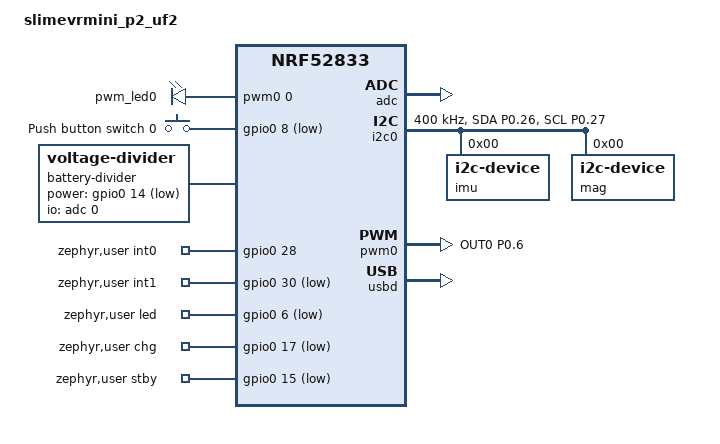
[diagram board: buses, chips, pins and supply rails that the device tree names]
// Copyright (c) 2024 Nordic Semiconductor ASA
// SPDX-License-Identifier: Apache-2.0

/dts-v1/;
#include <nordic/nrf52833_qiaa.dtsi>

//move to dtsi?
&pinctrl {
	i2c0_default: i2c0_default {
		group1 {
			psels = <NRF_PSEL(TWIM_SDA, 0, 26)>, <NRF_PSEL(TWIM_SCL, 0, 27)>;
			bias-disable;
		};
	};

	i2c0_sleep: i2c0_sleep {
		group1 {
			psels = <NRF_PSEL(TWIM_SDA, 0, 26)>, <NRF_PSEL(TWIM_SCL, 0, 27)>;
			bias-disable;
			low-power-enable;
		};
	};

	pwm0_default: pwm0_default {
		group1 {
			psels = <NRF_PSEL(PWM_OUT0, 0, 6)>;
			nordic,drive-mode = <NRF_DRIVE_D0S1>;
			nordic,invert;
		};
	};

	pwm0_sleep: pwm0_sleep {
		group1 {
			psels = <NRF_PSEL(PWM_OUT0, 0, 6)>;
			low-power-enable;
		};
	};
};
//end

/ {
	model = "slimevrmini_p2_uf2";
	compatible = "slimevrmini_p2_uf2";

	chosen {
		zephyr,sram = &sram0;
		zephyr,flash = &flash0;
		zephyr,console = &cdc_acm_uart0;
		zephyr,shell-uart = &cdc_acm_uart0;
	};

	pwmleds {
		compatible = "pwm-leds";
		pwm_led0: pwm_led_0 {
			pwms = <&pwm0 0 PWM_MSEC(1) PWM_POLARITY_INVERTED>;
		};
	};

	buttons {
		compatible = "gpio-keys";
		button0: button_0 {
			gpios = <&gpio0 8 (GPIO_PULL_UP | GPIO_ACTIVE_LOW)>;
			label = "Push button switch 0";
		};
	};

	aliases {
		sw0 = &button0;
		pwm-led0 = &pwm_led0;
	};

	battery-divider {
		compatible = "voltage-divider";
		status = "okay";
		io-channels = <&adc 0>;
		output-ohms = <402000>;
		full-ohms = <(402000+402000)>;
		power-gpios = <&gpio0 14 (GPIO_OPEN_DRAIN | GPIO_ACTIVE_LOW)>;
	};

	zephyr,user {
		int0-gpios = <&gpio0 28 0>;
		int1-gpios = <&gpio0 30 (GPIO_ACTIVE_LOW | GPIO_PULL_UP)>;
		led-gpios = <&gpio0 6 (GPIO_OPEN_DRAIN | GPIO_ACTIVE_LOW)>;
		//clk-gpios = <&gpio0 28 GPIO_OPEN_DRAIN>;
		chg-gpios = <&gpio0 17 (GPIO_ACTIVE_LOW | GPIO_PULL_UP)>;
		stby-gpios = <&gpio0 15 (GPIO_ACTIVE_LOW | GPIO_PULL_UP)>;
		//dcdc-gpios = <&gpio1 1 GPIO_OPEN_DRAIN>;
		//ldo-gpios = <&gpio1 2 GPIO_OPEN_DRAIN>;
	};

};

&reg1 {
	regulator-initial-mode = <NRF5X_REG_MODE_DCDC>;
};

&adc {
	status = "okay";
};

&gpiote {
	status = "okay";
};

&gpio0 {
	status = "okay";
};

&gpio1 {
	status = "okay";
};

&i2c0 {
	compatible = "nordic,nrf-twim";
	status = "okay";
	zephyr,concat-buf-size = <255>; // probable max for nrf52832
	zephyr,flash-buf-max-size = <255>; // probable max for nrf52832
	clock-frequency = <I2C_BITRATE_FAST>;
	pinctrl-0 = <&i2c0_default>;
	pinctrl-1 = <&i2c0_sleep>;
	pinctrl-names = "default", "sleep";

	imu: imu@0 { // any address out of range (00, 7f, etc. will search all addresses and stored address first if available, specify an address here to search first otherwise
		compatible = "i2c-device";
		label = "imu";
		reg = <0>;
	};

	mag: mag@0 {
		compatible = "i2c-device";
		label = "mag";
		reg = <0>;
	};

};

&pwm0 {
	status = "okay";
	pinctrl-0 = <&pwm0_default>;
	pinctrl-1 = <&pwm0_sleep>;
	pinctrl-names = "default", "sleep";
};

zephyr_udc0: &usbd {
	compatible = "nordic,nrf-usbd";
	status = "okay";
	cdc_acm_uart0: cdc_acm_uart0 {
		compatible = "zephyr,cdc-acm-uart";
	};
};

&nfct {
	status = "disabled";
};
